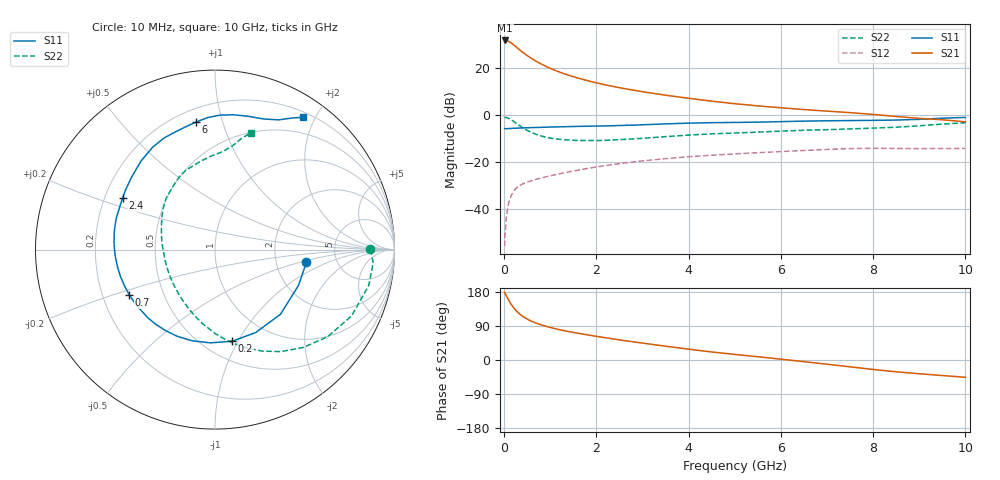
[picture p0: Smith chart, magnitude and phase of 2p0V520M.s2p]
! (c) 2009  Infineon Technologies AG, Munich
! Infineon Technologies  Discrete & RF Semiconductors
! BFP420
! VCE =  0.5 V,  IC =  20 mA
! Common Emitter S-Parameters:  Nov 2009
# GHz  S  MA  R  50
!  f  S11  S21  S12  S22
! GHz  MAG  ANG  MAG  ANG  MAG  ANG  MAG  ANG
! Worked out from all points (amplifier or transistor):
!   46 points, 10 MHz to 10 GHz, reference 50 ohm
!   highest |S21| = 31.7 dB at 20 MHz (marker M1)
!   |S21| within 3 dB of that: start of sweep to 274.7 MHz
!   unconditionally stable (mu >= 1): start of sweep to 14.62 MHz; 1.594 GHz to end of sweep
!   at 300 MHz: K = 0.35, MSG = 29.5 dB, |S12| = -30.6 dB
!   at 1.7 GHz: K = 1.02, MAG = 18.2 dB, |S12| = -23.2 dB
!   at 10 GHz: K = 1.04, MAG = 4.4 dB, |S12| = -14.3 dB
!   lowest NFmin = 1.23 dB at 900 MHz
!   S11 on the Smith chart (normalised r, x): 10 MHz: 2.98, -0.55; 200 MHz: 0.68, -0.95; 700 MHz: 0.31, -0.22; 2.4 GHz: 0.27, +0.24; 6 GHz: 0.28, +0.82; 10 GHz: 0.27, +1.83
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0.01  0.5117 -7.7  37.31 178.9  0.0016 101.5  0.866 0.1
0.02  0.5111 -9.9  38.51 175.8  0.0029 87.9  0.8845 -4.8
0.05  0.5062 -23.2  38.2 168.6  0.0072 81.8  0.8797 -13.1
0.1  0.5128 -44.6  36.74 157.5  0.0134 74.0  0.8459 -25.9
0.15  0.5147 -63.8  34.09 147.4  0.0188 67.1  0.7932 -37.8
0.2  0.5194 -79.3  31.37 139.0  0.0232 61.5  0.7346 -47.9
0.25  0.5202 -92.8  28.55 131.6  0.0267 57.2  0.6772 -57.1
0.3  0.5237 -104.1  26.01 125.3  0.0295 53.8  0.623 -65.1
0.4  0.5287 -121.4  21.74 115.5  0.0338 49.3  0.5349 -78.5
0.5  0.5331 -134.3  18.37 107.9  0.0371 46.9  0.4684 -89.7
0.6  0.5361 -144.2  15.8 101.9  0.0399 45.5  0.4195 -99.3
0.7  0.5404 -152.2  13.77 97.0  0.0426 44.9  0.3835 -107.6
0.9  0.5474 -164.1  10.89 89.1  0.0477 44.6  0.3364 -122.0
1.1  0.5539 -173.3  8.93 82.8  0.0529 44.6  0.3098 -134.1
1.7  0.5719 167.5  5.724 68.5  0.0694 43.6  0.2852 -161.7
2.4  0.5894 150.9  3.975 55.0  0.0889 39.6  0.294 175.6
3.5  0.6431 129.8  2.628 36.4  0.1171 30.5  0.3442 149.6
5.5  0.7016 104.0  1.556 8.6  0.1566 12.6  0.4292 121.8
6  0.7191 98.4  1.418 2.2  0.1657 8.2  0.4516 116.1
7  0.7496 88.0  1.203 -11.1  0.1837 -1.7  0.4848 103.9
8.5  0.7764 69.6  0.926 -31.2  0.1928 -18.8  0.5468 85.6
10  0.8845 56.4  0.713 -45.6  0.1926 -29.3  0.6806 72.9
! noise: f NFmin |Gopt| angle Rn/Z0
0.9  1.23  0.16  -154  0.13
1.8  1.51  0.24  -144  0.13
2.4  1.66  0.22  -141  0.15
3  1.69  0.3  -132  0.16
4  1.82  0.42  -115  0.23
5  2.28  0.48  -96  0.37
6  2.65  0.52  -86  0.56
